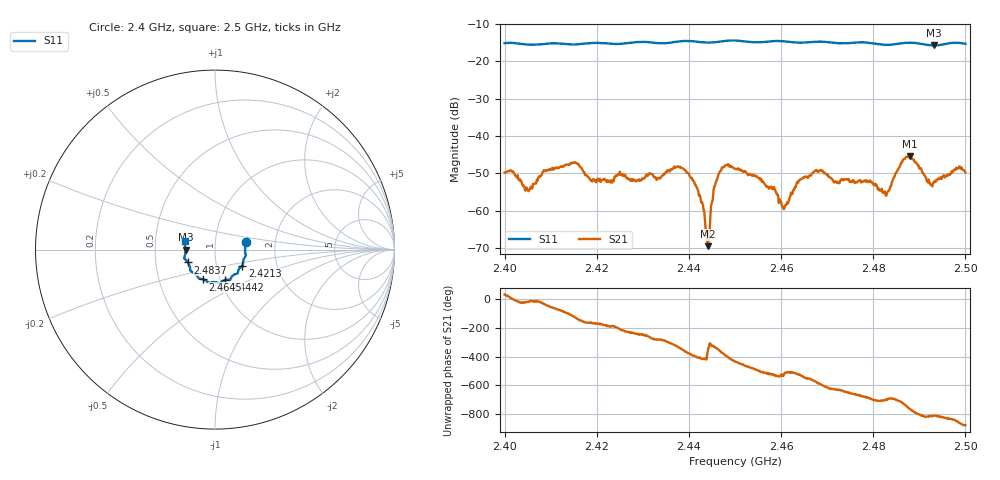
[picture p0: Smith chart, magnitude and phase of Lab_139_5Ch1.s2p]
# Hz S RI R 50
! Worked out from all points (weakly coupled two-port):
!   601 points, 2.4 GHz to 2.5 GHz, reference 50 ohm
!   highest |S21| = -45.32 dB at 2.488 GHz (marker M1); lowest = -69.5 dB at 2.4442 GHz (marker M2)
!   lowest |S11| = -15.7 dB at 2.4932 GHz (marker M3), VSWR 1.39, Z = 35.9 - j0.0528 ohm
!   |S11| at or under -10 dB: start of sweep to end of sweep
!   S12 and S22 are empty: the file has one direction only
!   S11 on the Smith chart (normalised r, x): 2.4 GHz: 1.41, +0.12; 2.4213 GHz: 1.33, -0.25; 2.4442 GHz: 1.05, -0.37; 2.4645 GHz: 0.83, -0.29; 2.4837 GHz: 0.73, -0.11; 2.5 GHz: 0.71, +0.07
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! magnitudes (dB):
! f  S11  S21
! 2.4 GHz  -15.1  -49.8
! 2.405 GHz  -15.5  -54.3
! 2.4088 GHz  -15.3  -49.5
! 2.4167 GHz  -15.3  -48.6
! 2.4213 GHz  -15.1  -51.8
! 2.4333 GHz  -15.1  -51.3
! 2.4373 GHz  -14.7  -48.3
! 2.4395 GHz  -14.5  -49.8
! 2.442 GHz  -14.8  -54.5
! 2.4442 GHz  -15.0  -69.5
! 2.4453 GHz  -14.9  -54.7
! 2.4463 GHz  -14.7  -50.7
! 2.45 GHz  -14.4  -48.8
! 2.4583 GHz  -14.5  -53.8
! 2.4607 GHz  -14.6  -59.6
! 2.4645 GHz  -15.0  -51.5
! 2.4667 GHz  -14.8  -50.0
! 2.4833 GHz  -15.6  -54.7
! 2.4837 GHz  -15.5  -53.6
! 2.488 GHz  -15.0  -45.3
! 2.4932 GHz  -15.7  -52.3
! 2.5 GHz  -15.3  -49.8
